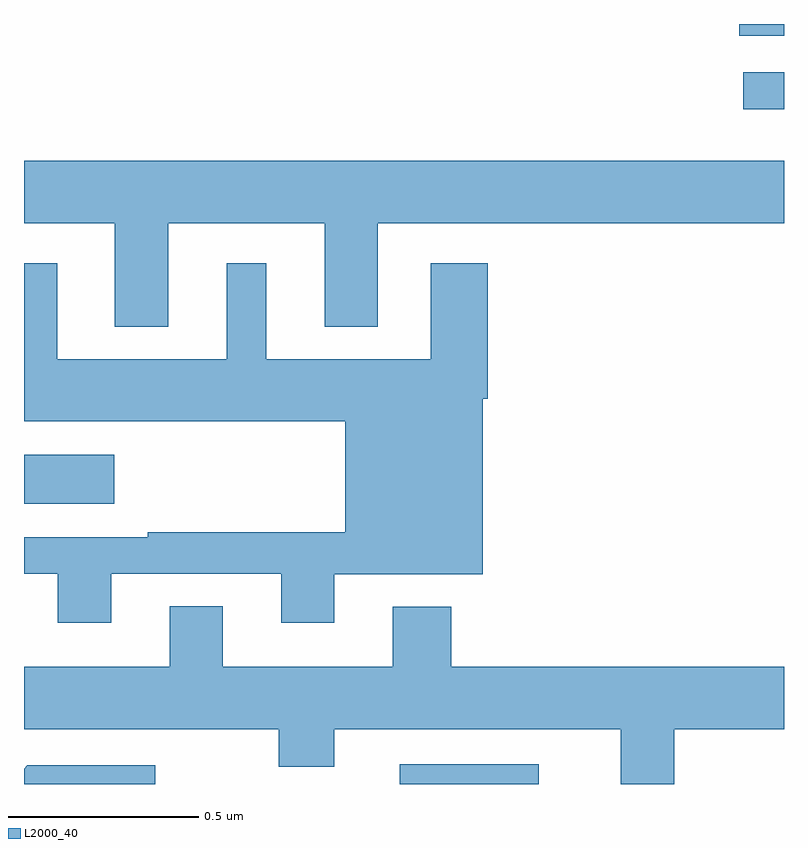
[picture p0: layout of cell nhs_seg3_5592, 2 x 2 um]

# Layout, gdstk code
import gdstk
lib = gdstk.Library(unit=1e-6, precision=1e-09)
def R(c, l, rs):  # rectangles x0, y0, x1, y1
    for r in rs: c.add(gdstk.rectangle(r[:2], r[2:], *l))
def P(c, l, *ps):  # polygons
    for p in ps: c.add(gdstk.Polygon(p, *l))
L2000_40 = (2000, 40)

nhs_seg3_5592 = lib.new_cell('nhs_seg3_5592')
R(nhs_seg3_5592, L2000_40, [(180.989,739.4,181.354,739.452), (180,740.138,180.238,740.266), (181.893,741.176,182,741.273), (181.882,741.369,182,741.4)])
P(nhs_seg3_5592, L2000_40, [(180.379,740.876),(180.791,740.876),(180.791,740.603),(180.931,740.603),(180.931,740.876),(182,740.876),(182,741.04),(180,741.04),(180,740.876),(180.239,740.876),(180.239,740.603),(180.379,740.603)],
  [(180.229,739.953),(180.677,739.953),(180.677,739.824),(180.817,739.824),(180.817,739.952),(181.207,739.952),(181.207,740.414),(181.22,740.414),(181.22,740.77),(181.07,740.77),(181.07,740.518),(180.637,740.518),(180.637,740.77),(180.533,740.77),(180.533,740.518),(180.088,740.518),(180.088,740.77),(180,740.77),(180,740.354),(180.845,740.354),(180.845,740.062),(180.325,740.062),(180.325,740.049),(180,740.049),(180,739.953),(180.089,739.953),(180.089,739.824),(180.229,739.824)],
  [(181.711,739.544),(182,739.544),(182,739.708),(181.124,739.708),(181.124,739.867),(180.971,739.867),(180.971,739.708),(180.523,739.708),(180.523,739.868),(180.383,739.868),(180.383,739.708),(180,739.708),(180,739.544),(180.67,739.544),(180.67,739.445),(180.817,739.445),(180.817,739.544),(181.571,739.544),(181.571,739.4),(181.711,739.4)],
  [(180.346,739.449),(180.009,739.449),(180,739.44),(180,739.4),(180.346,739.4)])

lib.write_gds('nhs_seg3_5592.gds')
